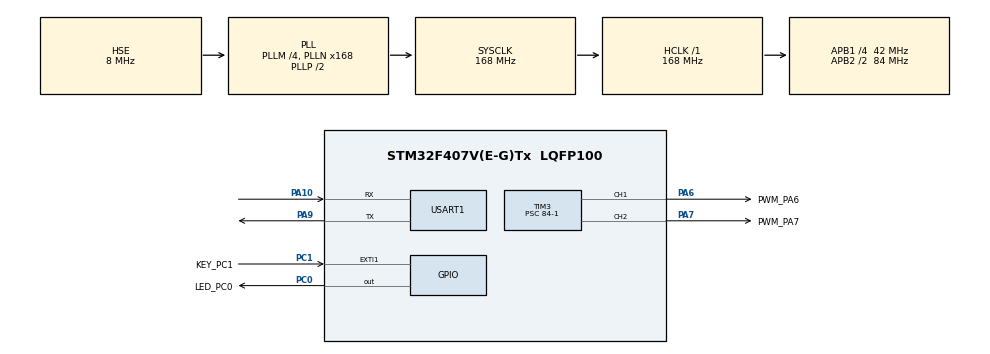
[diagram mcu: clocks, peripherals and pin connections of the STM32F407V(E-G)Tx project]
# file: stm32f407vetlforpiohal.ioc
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ADC1.Channel-5\#ChannelRegularConversion=ADC_CHANNEL_TEMPSENSOR
ADC1.ContinuousConvMode=ENABLE
ADC1.NbrOfConversionFlag=1
ADC1.Rank-5\#ChannelRegularConversion=1
ADC1.SamplingTime-5\#ChannelRegularConversion=ADC_SAMPLETIME_3CYCLES
ADC1.ScanConvMode=ENABLE
ADC1.master=1
Dma.ADC1.2.Direction=DMA_PERIPH_TO_MEMORY
Dma.ADC1.2.FIFOMode=DMA_FIFOMODE_DISABLE
Dma.ADC1.2.Instance=DMA2_Stream4
Dma.ADC1.2.MemDataAlignment=DMA_MDATAALIGN_HALFWORD
Dma.ADC1.2.MemInc=DMA_MINC_ENABLE
Dma.ADC1.2.Mode=DMA_CIRCULAR
Dma.ADC1.2.PeriphDataAlignment=DMA_PDATAALIGN_HALFWORD
Dma.ADC1.2.PeriphInc=DMA_PINC_DISABLE
Dma.ADC1.2.Priority=DMA_PRIORITY_HIGH
Dma.Request0=USART1_RX
Dma.Request1=USART1_TX
Dma.Request2=ADC1
Dma.USART1_RX.0.Direction=DMA_PERIPH_TO_MEMORY
Dma.USART1_RX.0.FIFOMode=DMA_FIFOMODE_DISABLE
Dma.USART1_RX.0.Instance=DMA2_Stream2
Dma.USART1_RX.0.MemDataAlignment=DMA_MDATAALIGN_BYTE
Dma.USART1_RX.0.MemInc=DMA_MINC_ENABLE
Dma.USART1_RX.0.Mode=DMA_CIRCULAR
Dma.USART1_RX.0.PeriphDataAlignment=DMA_PDATAALIGN_BYTE
Dma.USART1_RX.0.PeriphInc=DMA_PINC_DISABLE
Dma.USART1_RX.0.Priority=DMA_PRIORITY_LOW
Dma.USART1_TX.1.Direction=DMA_MEMORY_TO_PERIPH
Dma.USART1_TX.1.FIFOMode=DMA_FIFOMODE_DISABLE
Dma.USART1_TX.1.Instance=DMA2_Stream7
Dma.USART1_TX.1.MemDataAlignment=DMA_MDATAALIGN_BYTE
Dma.USART1_TX.1.MemInc=DMA_MINC_ENABLE
Dma.USART1_TX.1.Mode=DMA_NORMAL
Dma.USART1_TX.1.PeriphDataAlignment=DMA_PDATAALIGN_BYTE
Dma.USART1_TX.1.PeriphInc=DMA_PINC_DISABLE
Dma.USART1_TX.1.Priority=DMA_PRIORITY_LOW
Mcu.Family=STM32F4
Mcu.Name=STM32F407V(E-G)Tx
Mcu.Package=LQFP100
NVIC.DMA2_Stream4_IRQn=true\:0\:0\:false\:false\:true\:true\:true
NVIC.PriorityGroup=NVIC_PRIORITYGROUP_2
NVIC.TIM6_DAC_IRQn=true\:0\:0\:false\:false\:true\:true\:true
NVIC.USART1_IRQn=true\:0\:0\:false\:false\:true\:true\:true
PA0-WKUP.GPIO_PuPd=GPIO_PULLDOWN
PA0-WKUP.Signal=S_TIM5_CH1
PA10.Mode=Asynchronous
PA10.Signal=USART1_RX
PA6.GPIO_Label=PWM_PA6
PA6.GPIO_Speed=GPIO_SPEED_FREQ_MEDIUM
PA6.Signal=S_TIM3_CH1
PA7.GPIO_Label=PWM_PA7
PA7.GPIO_Speed=GPIO_SPEED_FREQ_MEDIUM
PA7.Signal=S_TIM3_CH2
PA9.Mode=Asynchronous
PA9.Signal=USART1_TX
PC0.GPIO_Label=LED_PC0
PC0.GPIO_ModeDefaultOutputPP=GPIO_MODE_OUTPUT_PP
PC0.GPIO_Speed=GPIO_SPEED_FREQ_MEDIUM
PC0.PinState=GPIO_PIN_RESET
PC0.Signal=GPIO_Output
PC1.GPIO_Label=KEY_PC1
PC1.GPIO_ModeDefaultEXTI=GPIO_MODE_IT_FALLING
PC1.GPIO_PuPd=GPIO_PULLUP
PC1.Signal=GPXTI1
PC14-OSC32_IN.Mode=LSE-External-Oscillator
PC14-OSC32_IN.Signal=RCC_OSC32_IN
PC15-OSC32_OUT.Mode=LSE-External-Oscillator
PC15-OSC32_OUT.Signal=RCC_OSC32_OUT
PH0-OSC_IN.Mode=HSE-External-Oscillator
PH0-OSC_IN.Signal=RCC_OSC_IN
PH1-OSC_OUT.Mode=HSE-External-Oscillator
PH1-OSC_OUT.Signal=RCC_OSC_OUT
ProjectManager.HeapSize=0x200
ProjectManager.StackSize=0x400
ProjectManager.TargetToolchain=Other Toolchains (GPDSC)
RCC.48MHZClocksFreq_Value=84000000
RCC.AHBFreq_Value=168000000
RCC.APB1CLKDivider=RCC_HCLK_DIV4
RCC.APB1Freq_Value=42000000
RCC.APB1TimFreq_Value=84000000
RCC.APB2CLKDivider=RCC_HCLK_DIV2
RCC.APB2Freq_Value=84000000
RCC.APB2TimFreq_Value=168000000
RCC.CortexFreq_Value=168000000
RCC.HCLKFreq_Value=168000000
RCC.HSE_VALUE=8000000
RCC.HSI_VALUE=16000000
RCC.PLLM=4
RCC.PLLN=168
RCC.PLLSourceVirtual=RCC_PLLSOURCE_HSE
RCC.SYSCLKFreq_VALUE=168000000
RCC.SYSCLKSource=RCC_SYSCLKSOURCE_PLLCLK
RCC.VCOOutputFreq_Value=336000000
SH.S_TIM3_CH1.0=TIM3_CH1,PWM Generation1 CH1
SH.S_TIM3_CH2.0=TIM3_CH2,PWM Generation2 CH2
SH.S_TIM5_CH1.0=TIM5_CH1
TIM3.AutoReloadPreload=TIM_AUTORELOAD_PRELOAD_DISABLE
TIM3.Channel-PWM\ Generation1\ CH1=TIM_CHANNEL_1
TIM3.Channel-PWM\ Generation2\ CH2=TIM_CHANNEL_2
TIM3.OCPolarity_1=TIM_OCPOLARITY_HIGH
TIM3.OCPolarity_2=TIM_OCPOLARITY_HIGH
TIM3.Period=100-1
TIM3.Prescaler=84-1
TIM3.Pulse-PWM\ Generation1\ CH1=80
TIM3.Pulse-PWM\ Generation2\ CH2=30
TIM6.AutoReloadPreload=TIM_AUTORELOAD_PRELOAD_ENABLE
TIM6.Period=65535
TIM6.Prescaler=84-1
USART1.VirtualMode=VM_ASYNC
VP_ADC1_TempSens_Input.Mode=IN-TempSens
VP_TIM3_VS_ClockSourceINT.Mode=Internal
VP_TIM6_VS_ClockSourceINT.Mode=Enable_Timer
board=custom

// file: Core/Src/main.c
/* USER CODE BEGIN Header */
/**
 ******************************************************************************
 * @file           : main.c
 * @brief          : Main program body
 ******************************************************************************
 * @attention
 *
 * <h2><center>&copy; Copyright (c) 2024 STMicroelectronics.
 * All rights reserved.</center></h2>
 *
 * This software component is licensed by ST under BSD 3-Clause license,
 * the "License"; You may not use this file except in compliance with the
 * License. You may obtain a copy of the License at:
 *                        opensource.org/licenses/BSD-3-Clause
 *
 ******************************************************************************
 */
/* USER CODE END Header */
#include "main.h"
#include "adc.h"
#include "dma.h"
#include "tim.h"
#include "usart.h"
#include "gpio.h"

/* USER CODE BEGIN Includes */
#include <retarget.h>

/* USER CODE END Includes */

/* USER CODE BEGIN PV */
uint8_t rx_buffer[RXMAXNUM];    // 接收数组
volatile uint8_t rx_len;        // 接收到的数据长度
volatile uint8_t recv_end_flag; // 接收结束标志
uint16_t pwmVal = 0;            // PWM占空�??????????????
uint8_t dir = 1;
uint32_t capture_Buf[3] = {0}; // 存放计数�????????????
uint8_t capture_Cnt = 0;       // 状�?�标志位
uint32_t high_time;            // 高电平时�????????????

uint32_t AdcTempValue = 0;
uint8_t Vol_Value = 0;
uint8_t Temperature = 0;

/* USER CODE END PV */

void SystemClock_Config(void);

int main(void)
{

  /* MCU Configuration--------------------------------------------------------*/

  /* Reset of all peripherals, Initializes the Flash interface and the Systick. */
  HAL_Init();

  /* Configure the system clock */
  SystemClock_Config();

  /* Initialize all configured peripherals */
  MX_GPIO_Init();
  MX_DMA_Init();
  MX_USART1_UART_Init();
  MX_TIM6_Init();
  MX_TIM3_Init();
  MX_ADC1_Init();
  /* USER CODE BEGIN 2 */
  // uart_Config

  RetargetInit(&huart1);

  printf("USART is initialized\n");

  // __HAL_UART_ENABLE_IT(&huart1, UART_IT_IDLE);
  // HAL_UART_Receive_DMA(&huart1, (uint8_t *)&rx_buffer, RXMAXNUM);
  // 必须的使能开启定时器
  HAL_TIM_Base_Start_IT(&htim6);
  // HAL_TIM_PWM_Start(&htim3, TIM_CHANNEL_1);
  // HAL_TIM_PWM_Start(&htim3, TIM_CHANNEL_2);

  // adc
  // HAL_ADC_Start(&hadc1);
  // HAL_ADC_Start_IT(&hadc1);

  HAL_ADC_Start_DMA(&hadc1, (uint32_t *)&AdcTempValue, 1);

  // HAL_ADC_PollForConversion(&hadc1, 10);

  /* USER CODE END 2 */

  /* Infinite loop */
  /* USER CODE BEGIN WHILE */
  while (1)
  {
#if 0
    delay_ms(100);

    if (dir)
      pwmVal++; /* dir==1 ledrpwmval递增 */
    else
      pwmVal--; /* dir==0 ledrpwmval递减 */

    if (pwmVal > 1000)
      dir = 0; /* ledrpwmval到达1000后，方向为�?�减 */
    if (pwmVal == 0)
      dir = 1; /* ledrpwmval递减�??????????????0后，方向改为递增 */

    /* 修改比较值控制占空比 */
    __HAL_TIM_SET_COMPARE(&htim3, TIM_CHANNEL_1, 80);
   // __HAL_TIM_SET_COMPARE(&htim3, TIM_CHANNEL_2, 30);

    /* USER CODE END WHILE */

    /* USER CODE BEGIN 3 */
#endif

    // HAL_Delay(300);
    delay_ms(300);
    printf("AD1=%d\n\r", AdcTempValue);
  }

  /* USER CODE END 3 */
}

void SystemClock_Config(void)
{
  RCC_OscInitTypeDef RCC_OscInitStruct = {0};
  RCC_ClkInitTypeDef RCC_ClkInitStruct = {0};

  /** Configure the main internal regulator output voltage
   */
  __HAL_RCC_PWR_CLK_ENABLE();
  __HAL_PWR_VOLTAGESCALING_CONFIG(PWR_REGULATOR_VOLTAGE_SCALE1);
  /** Initializes the RCC Oscillators according to the specified parameters
   * in the RCC_OscInitTypeDef structure.
   */
  RCC_OscInitStruct.OscillatorType = RCC_OSCILLATORTYPE_HSE;
  RCC_OscInitStruct.HSEState = RCC_HSE_ON;
  RCC_OscInitStruct.PLL.PLLState = RCC_PLL_ON;
  RCC_OscInitStruct.PLL.PLLSource = RCC_PLLSOURCE_HSE;
  RCC_OscInitStruct.PLL.PLLM = 4;
  RCC_OscInitStruct.PLL.PLLN = 168;
  RCC_OscInitStruct.PLL.PLLP = RCC_PLLP_DIV2;
  RCC_OscInitStruct.PLL.PLLQ = 4;
  if (HAL_RCC_OscConfig(&RCC_OscInitStruct) != HAL_OK)
  {
    Error_Handler();
  }
  /** Initializes the CPU, AHB and APB buses clocks
   */
  RCC_ClkInitStruct.ClockType = RCC_CLOCKTYPE_HCLK | RCC_CLOCKTYPE_SYSCLK | RCC_CLOCKTYPE_PCLK1 | RCC_CLOCKTYPE_PCLK2;
  RCC_ClkInitStruct.SYSCLKSource = RCC_SYSCLKSOURCE_PLLCLK;
  RCC_ClkInitStruct.AHBCLKDivider = RCC_SYSCLK_DIV1;
  RCC_ClkInitStruct.APB1CLKDivider = RCC_HCLK_DIV4;
  RCC_ClkInitStruct.APB2CLKDivider = RCC_HCLK_DIV2;

  if (HAL_RCC_ClockConfig(&RCC_ClkInitStruct, FLASH_LATENCY_5) != HAL_OK)
  {
    Error_Handler();
  }
}

void Error_Handler(void)
{
}

/************************ (C) COPYRIGHT STMicroelectronics *****END OF FILE****/
